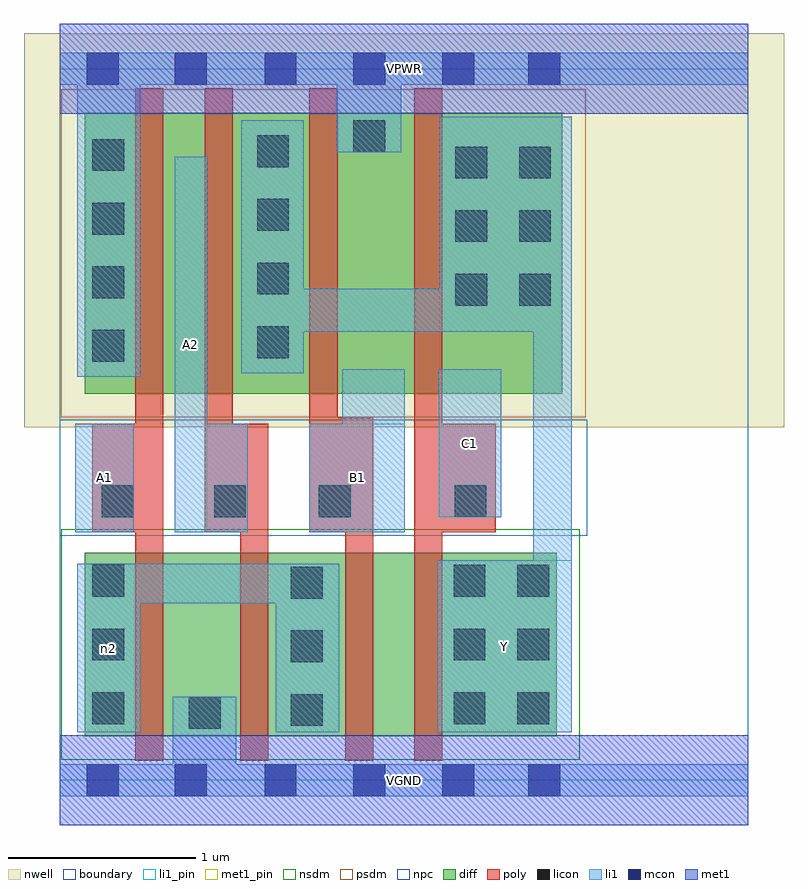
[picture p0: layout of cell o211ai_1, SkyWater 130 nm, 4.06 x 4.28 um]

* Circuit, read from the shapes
.subckt o211ai_1 A1 A2 B1 C1 VGND VPWR Y n2
XM1 VGND A1 n2 VSUBS sky130_fd_pr__nfet_01v8 w=0.98 l=0.15
XM2 n2 A2 VGND VSUBS sky130_fd_pr__nfet_01v8 w=0.98 l=0.15
XM3 n1 B1 n2 VSUBS sky130_fd_pr__nfet_01v8 w=0.98 l=0.15
XM4 Y C1 n1 VSUBS sky130_fd_pr__nfet_01v8 w=0.98 l=0.15
XM5 n3 A1 VPWR n4 sky130_fd_pr__pfet_01v8 w=1.5 l=0.15
XM6 Y A2 n3 n4 sky130_fd_pr__pfet_01v8 w=1.5 l=0.15
XM7 VPWR B1 Y n4 sky130_fd_pr__pfet_01v8 w=1.5 l=0.15
XM8 Y C1 VPWR n4 sky130_fd_pr__pfet_01v8 w=1.5 l=0.15
.ends

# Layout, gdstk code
import gdstk
lib = gdstk.Library(unit=1e-6, precision=1e-09)
def R(c, l, rs):  # rectangles x0, y0, x1, y1
    for r in rs: c.add(gdstk.rectangle(r[:2], r[2:], *l))
def A(c, l, x, y, w, h, nx, ny, dx, dy):  # array of equal rectangles
    R(c, l, [(x+i*dx, y+j*dy, x+i*dx+w, y+j*dy+h) for i in range(nx) for j in range(ny)])
nwell = (64, 20)
diff = (65, 20)
poly = (66, 20)
licon = (66, 44)
li1_pin = (67, 16)
li1 = (67, 20)
mcon = (67, 44)
met1_pin = (68, 16)
met1 = (68, 20)
nsdm = (93, 44)
psdm = (94, 20)
npc = (95, 20)
boundary = (235, 4)

o211ai_1 = lib.new_cell('o211ai_1')
R(o211ai_1, nwell, [(-0.19,1.885,3.87,3.99), (0,1.885,3.68,3.99)])
R(o211ai_1, diff, [(0.135,0.235,2.655,1.215), (0.135,2.065,2.685,3.565)])
R(o211ai_1, poly, [(0.405,0.105,0.555,3.695), (0.965,0.105,1.115,1.905), (1.525,0.105,1.675,1.935), (1.895,0.105,2.045,3.695), (0.175,1.325,0.555,1.905), (0.775,1.325,0.925,3.695), (0.775,1.325,1.115,1.905), (1.335,1.325,1.485,3.695), (1.335,1.325,1.675,1.935), (1.895,1.325,2.33,1.905)])
A(o211ai_1, licon, 1.235, 0.29, 0.17, 0.17, 1, 3, 0, 0.34)
A(o211ai_1, licon, 0.175, 0.3, 0.17, 0.17, 1, 3, 0, 0.34)
A(o211ai_1, licon, 2.105, 0.3, 0.17, 0.17, 1, 3, 0, 0.34)
A(o211ai_1, licon, 2.445, 0.3, 0.17, 0.17, 1, 3, 0, 0.34)
A(o211ai_1, licon, 0.175, 2.235, 0.17, 0.17, 1, 4, 0, 0.34)
A(o211ai_1, licon, 1.055, 2.255, 0.17, 0.17, 1, 4, 0, 0.34)
A(o211ai_1, licon, 2.115, 2.535, 0.17, 0.17, 1, 3, 0, 0.34)
A(o211ai_1, licon, 2.455, 2.535, 0.17, 0.17, 1, 3, 0, 0.34)
R(o211ai_1, licon, [(0.69,0.275,0.86,0.445), (0.225,1.405,0.395,1.575), (0.825,1.405,0.995,1.575), (1.385,1.405,1.555,1.575), (2.11,1.405,2.28,1.575), (1.57,3.355,1.74,3.525)])
R(o211ai_1, li1_pin, [(2.02,0.255,2.735,1.175), (0.085,1.325,0.395,1.905), (0.615,1.325,0.79,3.33), (1.335,1.325,1.845,1.905), (2.025,1.405,2.36,2.195)])
R(o211ai_1, li1, [(0,-0.085,3.68,0.085), (0.605,-0.085,0.945,0.445), (0.095,0.255,0.43,1.155), (1.155,0.255,1.495,1.155), (2.02,0.255,2.735,1.175), (2.53,0.255,2.735,3.545), (0.095,0.945,1.495,1.155), (0.085,1.325,0.395,1.905), (0.615,1.325,0.79,3.33), (0.615,1.325,1.005,1.905), (1.335,1.325,1.845,1.905), (1.51,1.325,1.845,2.195), (2.025,1.405,2.36,2.195), (0.095,2.155,0.43,3.885), (0.97,2.175,1.305,3.525), (0.97,2.395,2.735,2.625), (2.03,2.395,2.735,3.545), (1.48,3.355,1.825,3.885), (0,3.715,3.68,3.885)])
A(o211ai_1, mcon, 1.095, -0.085, 0.17, 0.17, 3, 2, 0.475, 3.8)
R(o211ai_1, mcon, [(0.145,-0.085,0.315,0.085), (0.615,-0.085,0.785,0.085), (2.505,-0.085,2.675,0.085), (0.145,3.715,0.315,3.885), (0.615,3.715,0.785,3.885), (2.505,3.715,2.675,3.885)])
R(o211ai_1, met1_pin, [(0,-0.24,3.68,0.24), (0,3.56,3.68,4.04)])
R(o211ai_1, met1, [(0,-0.24,3.68,0.24), (0,3.56,3.68,4.04)])
R(o211ai_1, nsdm, [(0.01,0.11,2.78,1.34)])
R(o211ai_1, psdm, [(0.01,1.94,2.81,3.69)])
R(o211ai_1, npc, [(0,1.305,2.82,1.925)])
R(o211ai_1, boundary, [(0,0,3.68,3.8)])
o211ai_1.add(gdstk.Label('A1', (0.24,1.615), layer=67, texttype=5))
o211ai_1.add(gdstk.Label('A2', (0.702,2.327), layer=67, texttype=5))
o211ai_1.add(gdstk.Label('B1', (1.59,1.615), layer=67, texttype=5))
o211ai_1.add(gdstk.Label('C1', (2.192,1.8), layer=67, texttype=5))
o211ai_1.add(gdstk.Label('Y', (2.377,0.715), layer=67, texttype=5))
o211ai_1.add(gdstk.Label('n2', (0.262,0.705), layer=67, texttype=5))
o211ai_1.add(gdstk.Label('VPWR', (1.84,3.8), layer=68, texttype=5))
o211ai_1.add(gdstk.Label('VGND', (1.84,0), layer=68, texttype=5))
o211ai_1.add(gdstk.Label('A1', (0.24,1.615), layer=67, texttype=16))
o211ai_1.add(gdstk.Label('A2', (0.702,2.327), layer=67, texttype=16))
o211ai_1.add(gdstk.Label('B1', (1.59,1.615), layer=67, texttype=16))
o211ai_1.add(gdstk.Label('C1', (2.192,1.8), layer=67, texttype=16))
o211ai_1.add(gdstk.Label('Y', (2.377,0.715), layer=67, texttype=16))
o211ai_1.add(gdstk.Label('VPWR', (1.84,3.8), layer=68, texttype=16))
o211ai_1.add(gdstk.Label('VGND', (1.84,0), layer=68, texttype=16))

lib.write_gds('o211ai_1.gds')
